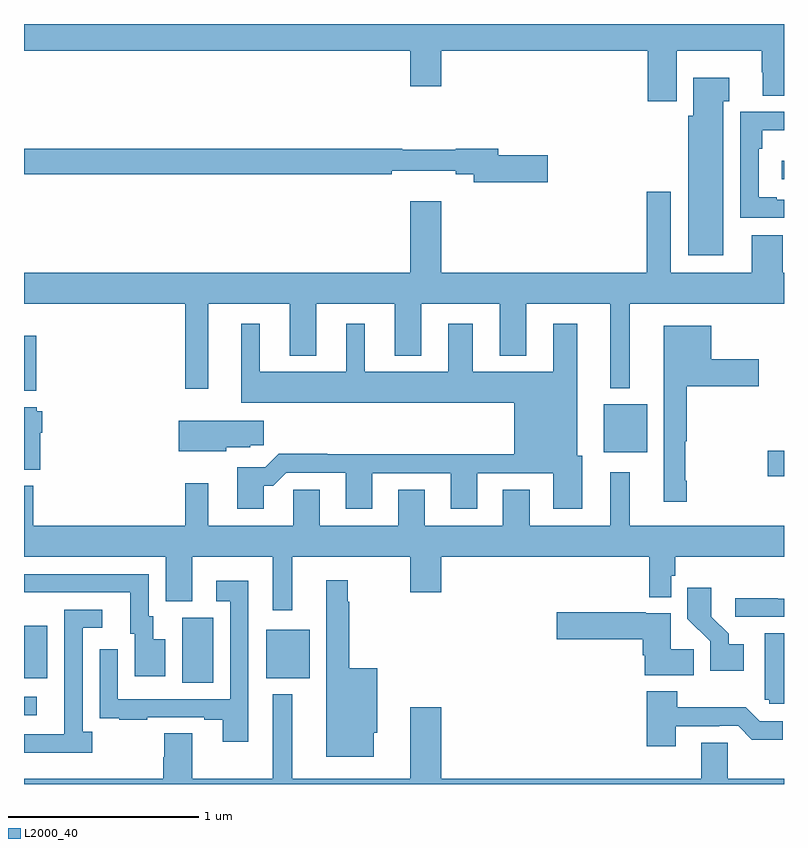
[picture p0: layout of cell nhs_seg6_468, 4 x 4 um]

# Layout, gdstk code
import gdstk
lib = gdstk.Library(unit=1e-6, precision=1e-09)
def R(c, l, rs):  # rectangles x0, y0, x1, y1
    for r in rs: c.add(gdstk.rectangle(r[:2], r[2:], *l))
def P(c, l, *ps):  # polygons
    for p in ps: c.add(gdstk.Polygon(p, *l))
L2000_40 = (2000, 40)

nhs_seg6_468 = lib.new_cell('nhs_seg6_468')
R(nhs_seg6_468, L2000_40, [(139,919.863,139.066,919.959), (139.832,920.032,139.996,920.376), (139,920.057,139.123,920.332), (140.276,920.057,140.503,920.311), (142.914,921.119,143,921.254), (142.052,921.245,142.279,921.499), (139,921.569,139.064,921.859), (142.989,922.683,143,922.78)])
P(nhs_seg6_468, L2000_40, [(142.435,923.36),(142.882,923.36),(142.882,923.247),(142.889,923.247),(142.889,923.122),(143,923.122),(143,923.5),(139,923.5),(139,923.36),(141.032,923.36),(141.032,923.172),(141.196,923.172),(141.196,923.36),(142.283,923.36),(142.283,923.094),(142.435,923.094)],
  [(142.681,923.093),(142.711,923.093),(142.711,923.218),(142.523,923.218),(142.523,923.016),(142.496,923.016),(142.496,922.283),(142.681,922.283)],
  [(143,922.575),(142.963,922.575),(142.963,922.588),(142.866,922.588),(142.866,922.844),(142.886,922.844),(142.886,922.94),(143,922.94),(143,923.037),(142.77,923.037),(142.77,922.479),(143,922.479)],
  [(141.757,922.808),(141.496,922.808),(141.496,922.844),(141.272,922.844),(141.272,922.837),(140.992,922.837),(140.992,922.844),(139,922.844),(139,922.708),(140.936,922.708),(140.936,922.727),(141.272,922.727),(141.272,922.708),(141.368,922.708),(141.368,922.666),(141.757,922.666)],
  [(139.969,922.028),(140.399,922.028),(140.399,921.755),(140.539,921.755),(140.539,922.028),(140.951,922.028),(140.951,921.755),(141.091,921.755),(141.091,922.028),(141.503,922.028),(141.503,921.755),(141.643,921.755),(141.643,922.028),(142.085,922.028),(142.085,921.584),(142.189,921.584),(142.189,922.028),(143,922.028),(143,922.192),(142.993,922.192),(142.993,922.387),(142.829,922.387),(142.829,922.192),(142.405,922.192),(142.405,922.618),(142.277,922.618),(142.277,922.192),(141.196,922.192),(141.196,922.567),(141.032,922.567),(141.032,922.192),(139,922.192),(139,922.028),(139.848,922.028),(139.848,921.579),(139.969,921.579)],
  [(140.263,921.071),(140.312,921.071),(140.379,921.138),(140.693,921.138),(140.693,920.949),(140.833,920.949),(140.833,921.135),(141.245,921.135),(141.245,920.949),(141.385,920.949),(141.385,921.135),(141.785,921.135),(141.785,920.949),(141.937,920.949),(141.937,921.228),(141.913,921.228),(141.913,921.922),(141.785,921.922),(141.785,921.67),(141.361,921.67),(141.361,921.922),(141.233,921.922),(141.233,921.67),(140.794,921.67),(140.794,921.922),(140.696,921.922),(140.696,921.67),(140.242,921.67),(140.242,921.922),(140.144,921.922),(140.144,921.506),(141.581,921.506),(141.581,921.236),(140.597,921.236),(140.597,921.239),(140.342,921.239),(140.271,921.168),(140.123,921.168),(140.123,920.949),(140.263,920.949)],
  [(142.489,921.097),(142.481,921.097),(142.481,921.303),(142.489,921.303),(142.489,921.593),(142.867,921.593),(142.867,921.735),(142.618,921.735),(142.618,921.913),(142.367,921.913),(142.367,920.985),(142.489,920.985)],
  [(139.085,921.348),(139.097,921.348),(139.097,921.462),(139.068,921.462),(139.068,921.484),(139,921.484),(139,921.155),(139.085,921.155)],
  [(140.064,921.272),(140.19,921.272),(140.19,921.283),(140.263,921.283),(140.263,921.412),(139.814,921.412),(139.814,921.251),(140.064,921.251)],
  [(140.413,920.696),(141.032,920.696),(141.032,920.508),(141.196,920.508),(141.196,920.696),(142.291,920.696),(142.291,920.483),(142.407,920.483),(142.407,920.595),(142.427,920.595),(142.427,920.696),(143,920.696),(143,920.86),(142.189,920.86),(142.189,921.142),(142.085,921.142),(142.085,920.86),(141.661,920.86),(141.661,921.05),(141.521,921.05),(141.521,920.86),(141.109,920.86),(141.109,921.05),(140.969,921.05),(140.969,920.86),(140.557,920.86),(140.557,921.05),(140.418,921.05),(140.418,920.86),(139.969,920.86),(139.969,921.082),(139.848,921.082),(139.848,920.86),(139.049,920.86),(139.049,921.07),(139,921.07),(139,920.696),(139.745,920.696),(139.745,920.461),(139.885,920.461),(139.885,920.696),(140.309,920.696),(140.309,920.415),(140.413,920.415)],
  [(139.744,920.263),(139.681,920.263),(139.681,920.382),(139.656,920.382),(139.656,920.604),(139,920.604),(139,920.508),(139.559,920.508),(139.559,920.292),(139.583,920.292),(139.583,920.067),(139.744,920.067)],
  [(140.842,919.77),(140.86,919.77),(140.86,920.11),(140.713,920.11),(140.713,920.459),(140.705,920.459),(140.705,920.572),(140.591,920.572),(140.591,919.643),(140.842,919.643)],
  [(140.181,920.569),(140.013,920.569),(140.013,920.463),(140.085,920.463),(140.085,919.947),(139.494,919.947),(139.494,920.209),(139.398,920.209),(139.398,919.954),(139.399,919.954),(139.399,919.845),(139.501,919.845),(139.501,919.839),(139.649,919.839),(139.649,919.851),(139.949,919.851),(139.949,919.839),(140.045,919.839),(140.045,919.722),(140.181,919.722)],
  [(142.789,920.236),(142.708,920.236),(142.708,920.291),(142.618,920.381),(142.618,920.533),(142.492,920.533),(142.492,920.37),(142.611,920.251),(142.611,920.096),(142.789,920.096)],
  [(143,920.475),(142.967,920.475),(142.967,920.478),(142.743,920.478),(142.743,920.379),(143,920.379)],
  [(139.36,919.774),(139.308,919.774),(139.308,920.322),(139.411,920.322),(139.411,920.418),(139.212,920.418),(139.212,919.961),(139.211,919.961),(139.211,919.761),(139,919.761),(139,919.664),(139.36,919.664)],
  [(142.526,920.21),(142.405,920.21),(142.405,920.398),(142.272,920.398),(142.272,920.403),(141.804,920.403),(141.804,920.261),(142.256,920.261),(142.256,920.177),(142.268,920.177),(142.268,920.072),(142.526,920.072)],
  [(143,920.293),(142.898,920.293),(142.898,919.944),(142.923,919.944),(142.923,919.923),(143,919.923)],
  [(142.429,919.803),(142.658,919.803),(142.658,919.806),(142.758,919.806),(142.831,919.733),(142.993,919.733),(142.993,919.83),(142.872,919.83),(142.799,919.903),(142.437,919.903),(142.437,919.987),(142.277,919.987),(142.277,919.698),(142.429,919.698)],
  [(143,919.528),(142.704,919.528),(142.704,919.718),(142.565,919.718),(142.565,919.528),(141.196,919.528),(141.196,919.903),(141.032,919.903),(141.032,919.528),(140.413,919.528),(140.413,919.972),(140.309,919.972),(140.309,919.528),(139.885,919.528),(139.885,919.766),(139.738,919.766),(139.738,919.641),(139.733,919.641),(139.733,919.528),(139,919.528),(139,919.5),(143,919.5)])

lib.write_gds('nhs_seg6_468.gds')
